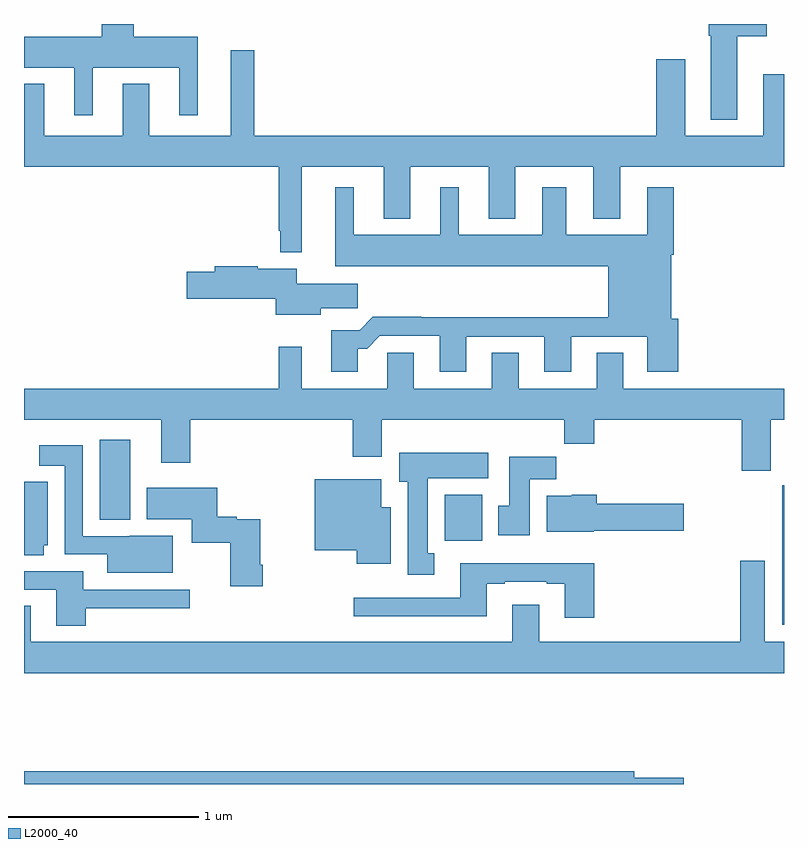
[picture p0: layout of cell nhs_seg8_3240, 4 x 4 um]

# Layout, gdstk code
import gdstk
lib = gdstk.Library(unit=1e-6, precision=1e-09)
def R(c, l, rs):  # rectangles x0, y0, x1, y1
    for r in rs: c.add(gdstk.rectangle(r[:2], r[2:], *l))
def P(c, l, *ps):  # polygons
    for p in ps: c.add(gdstk.Polygon(p, *l))
L2000_40 = (2000, 40)

nhs_seg8_3240 = lib.new_cell('nhs_seg8_3240')
R(nhs_seg8_3240, L2000_40, [(314.99,1132.739,315,1133.472), (313.214,1133.18,313.411,1133.422), (311.399,1133.291,311.56,1133.713)])
P(nhs_seg8_3240, L2000_40, [(311.362,1135.67),(311.816,1135.67),(311.816,1135.419),(311.914,1135.419),(311.914,1135.834),(311.578,1135.834),(311.578,1135.9),(311.408,1135.9),(311.408,1135.834),(311,1135.834),(311,1135.67),(311.264,1135.67),(311.264,1135.419),(311.362,1135.419)],
  [(314.755,1135.835),(314.908,1135.835),(314.908,1135.9),(314.603,1135.9),(314.603,1135.839),(314.615,1135.839),(314.615,1135.397),(314.755,1135.397)],
  [(312.463,1135.148),(312.893,1135.148),(312.893,1134.875),(313.033,1134.875),(313.033,1135.148),(313.445,1135.148),(313.445,1134.875),(313.585,1134.875),(313.585,1135.148),(313.997,1135.148),(313.997,1134.875),(314.137,1134.875),(314.137,1135.148),(315,1135.148),(315,1135.636),(314.891,1135.636),(314.891,1135.312),(314.479,1135.312),(314.479,1135.714),(314.327,1135.714),(314.327,1135.312),(312.211,1135.312),(312.211,1135.762),(312.089,1135.762),(312.089,1135.312),(311.659,1135.312),(311.659,1135.585),(311.519,1135.585),(311.519,1135.312),(311.107,1135.312),(311.107,1135.585),(311,1135.585),(311,1135.148),(312.342,1135.148),(312.342,1134.811),(312.349,1134.811),(312.349,1134.699),(312.463,1134.699)],
  [(312.757,1134.191),(312.806,1134.191),(312.873,1134.258),(313.187,1134.258),(313.187,1134.069),(313.327,1134.069),(313.327,1134.255),(313.739,1134.255),(313.739,1134.069),(313.879,1134.069),(313.879,1134.255),(314.279,1134.255),(314.279,1134.069),(314.444,1134.069),(314.444,1134.348),(314.407,1134.348),(314.407,1134.686),(314.42,1134.686),(314.42,1135.042),(314.279,1135.042),(314.279,1134.79),(313.855,1134.79),(313.855,1135.042),(313.727,1135.042),(313.727,1134.79),(313.288,1134.79),(313.288,1135.042),(313.19,1135.042),(313.19,1134.79),(312.736,1134.79),(312.736,1135.042),(312.638,1135.042),(312.638,1134.626),(314.075,1134.626),(314.075,1134.356),(313.091,1134.356),(313.091,1134.359),(312.836,1134.359),(312.766,1134.289),(312.617,1134.289),(312.617,1134.069),(312.757,1134.069)],
  [(312.562,1134.403),(312.757,1134.403),(312.757,1134.532),(312.436,1134.532),(312.436,1134.613),(312.23,1134.613),(312.23,1134.626),(312.005,1134.626),(312.005,1134.596),(311.856,1134.596),(311.856,1134.454),(312.326,1134.454),(312.326,1134.371),(312.562,1134.371)],
  [(314.929,1133.816),(315,1133.816),(315,1133.98),(314.155,1133.98),(314.155,1134.17),(314.015,1134.17),(314.015,1133.98),(313.603,1133.98),(313.603,1134.17),(313.463,1134.17),(313.463,1133.98),(313.051,1133.98),(313.051,1134.17),(312.912,1134.17),(312.912,1133.98),(312.463,1133.98),(312.463,1134.202),(312.342,1134.202),(312.342,1133.98),(311,1133.98),(311,1133.816),(311.723,1133.816),(311.723,1133.592),(311.876,1133.592),(311.876,1133.816),(312.731,1133.816),(312.731,1133.622),(312.883,1133.622),(312.883,1133.816),(313.843,1133.816),(313.843,1133.692),(314,1133.692),(314,1133.816),(314.777,1133.816),(314.777,1133.55),(314.929,1133.55)],
  [(311.782,1133.206),(311.556,1133.206),(311.556,1133.205),(311.31,1133.205),(311.31,1133.683),(311.079,1133.683),(311.079,1133.576),(311.214,1133.576),(311.214,1133.109),(311.438,1133.109),(311.438,1133.012),(311.782,1133.012)],
  [(313.159,1133.114),(313.126,1133.114),(313.126,1133.51),(313.444,1133.51),(313.444,1133.644),(312.974,1133.644),(312.974,1133.49),(313.019,1133.49),(313.019,1133.001),(313.159,1133.001)],
  [(313.663,1133.504),(313.802,1133.504),(313.802,1133.623),(313.553,1133.623),(313.553,1133.364),(313.496,1133.364),(313.496,1133.208),(313.663,1133.208)],
  [(312.931,1133.356),(312.88,1133.356),(312.88,1133.503),(312.53,1133.503),(312.53,1133.129),(312.752,1133.129),(312.752,1133.06),(312.931,1133.06)],
  [(311.104,1133.157),(311.125,1133.157),(311.125,1133.491),(311,1133.491),(311,1133.104),(311.104,1133.104)],
  [(312.257,1133.053),(312.244,1133.053),(312.244,1133.293),(312.12,1133.293),(312.12,1133.306),(312.017,1133.306),(312.017,1133.458),(311.645,1133.458),(311.645,1133.294),(311.882,1133.294),(311.882,1133.171),(312.086,1133.171),(312.086,1132.941),(312.257,1132.941)],
  [(313.998,1133.234),(314.473,1133.234),(314.473,1133.376),(314.015,1133.376),(314.015,1133.422),(313.884,1133.422),(313.884,1133.416),(313.751,1133.416),(313.751,1133.228),(313.998,1133.228)],
  [(315,1132.648),(314.899,1132.648),(314.899,1133.074),(314.771,1133.074),(314.771,1132.648),(313.711,1132.648),(313.711,1132.843),(313.571,1132.843),(313.571,1132.648),(311.035,1132.648),(311.035,1132.838),(311,1132.838),(311,1132.484),(315,1132.484)],
  [(314,1133.062),(313.295,1133.062),(313.295,1132.881),(312.735,1132.881),(312.735,1132.784),(313.435,1132.784),(313.435,1132.953),(313.531,1132.953),(313.531,1132.965),(313.751,1132.965),(313.751,1132.953),(313.847,1132.953),(313.847,1132.776),(314,1132.776)],
  [(311.324,1132.826),(311.872,1132.826),(311.872,1132.923),(311.311,1132.923),(311.311,1133.019),(311,1133.019),(311,1132.923),(311.171,1132.923),(311.171,1132.734),(311.324,1132.734)],
  [(314.473,1131.932),(314.212,1131.932),(314.212,1131.968),(311,1131.968),(311,1131.9),(314.473,1131.9)])

lib.write_gds('nhs_seg8_3240.gds')
